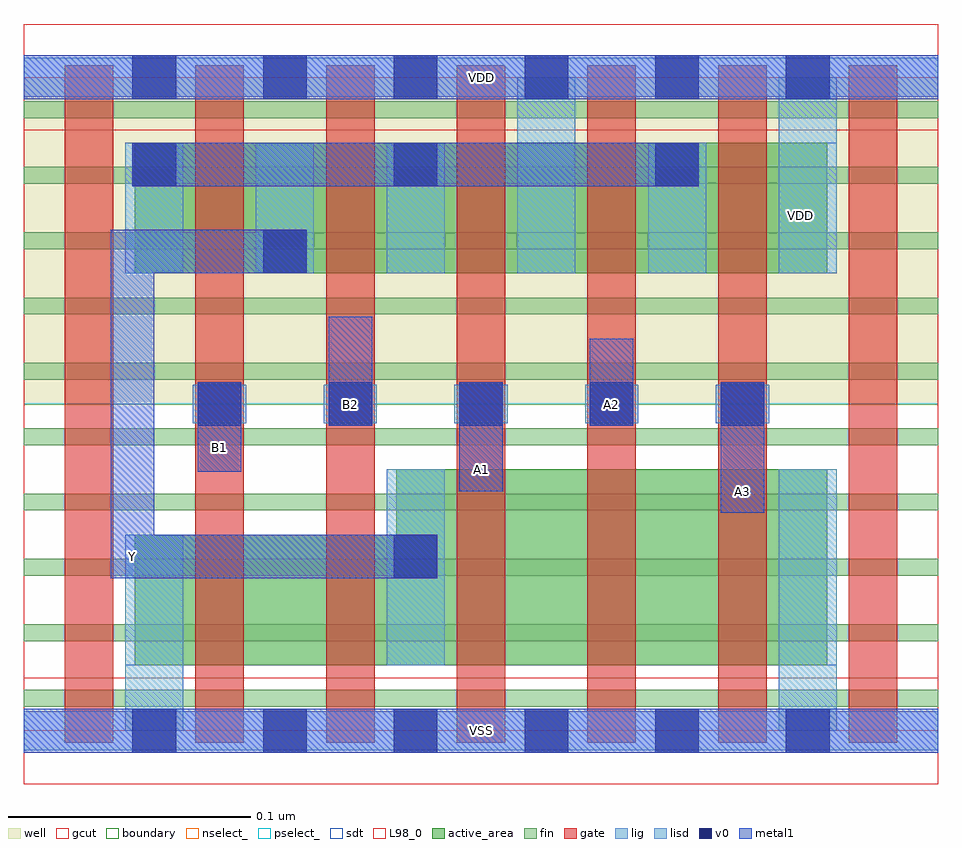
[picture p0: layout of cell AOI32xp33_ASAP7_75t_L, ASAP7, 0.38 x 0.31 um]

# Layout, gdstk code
import gdstk
lib = gdstk.Library(unit=1e-6, precision=2.5e-10)
def R(c, l, rs):  # rectangles x0, y0, x1, y1
    for r in rs: c.add(gdstk.rectangle(r[:2], r[2:], *l))
def A(c, l, x, y, w, h, nx, ny, dx, dy):  # array of equal rectangles
    R(c, l, [(x+i*dx, y+j*dy, x+i*dx+w, y+j*dy+h) for i in range(nx) for j in range(ny)])
def P(c, l, *ps):  # polygons
    for p in ps: c.add(gdstk.Polygon(p, *l))
well = (1, 0)
fin = (2, 0)
gate = (7, 0)
gcut = (10, 0)
active_area = (11, 0)
nselect_ = (12, 0)
pselect_ = (13, 0)
lig = (16, 0)
lisd = (17, 0)
v0 = (18, 0)
metal1 = (19, 0)
sdt = (88, 0)
L98_0 = (98, 0)
boundary = (100, 0)

aoi32xp33_asap7_75t_l = lib.new_cell('AOI32xp33_ASAP7_75t_L')
R(aoi32xp33_asap7_75t_l, well, [(0,0.135,0.378,0.27)])
A(aoi32xp33_asap7_75t_l, fin, 0, 0.01, 0.378, 0.007, 1, 10, 0, 0.027)
A(aoi32xp33_asap7_75t_l, gate, 0.017, -0.005, 0.02, 0.28, 7, 1, 0.054, 0)
R(aoi32xp33_asap7_75t_l, gcut, [(0,-0.022,0.378,0.022), (0,0.248,0.378,0.292)])
R(aoi32xp33_asap7_75t_l, active_area, [(0.046,0.189,0.332,0.243)])
P(aoi32xp33_asap7_75t_l, active_area, [(0.046,0.027),(0.046,0.081),(0.154,0.081),(0.154,0.108),(0.332,0.108),(0.332,0.027)])
R(aoi32xp33_asap7_75t_l, nselect_, [(0,0,0.378,0.135)])
R(aoi32xp33_asap7_75t_l, pselect_, [(0,0.135,0.378,0.27)])
A(aoi32xp33_asap7_75t_l, lig, 0.07, 0.127, 0.022, 0.016, 5, 1, 0.054, 0)
R(aoi32xp33_asap7_75t_l, lig, [(0,-0.008,0.378,0.008), (0,0.262,0.378,0.278)])
A(aoi32xp33_asap7_75t_l, lisd, 0.042, 0.189, 0.024, 0.054, 3, 1, 0.054, 0)
R(aoi32xp33_asap7_75t_l, lisd, [(0.042,0,0.066,0.081), (0.312,0,0.336,0.108), (0.15,0.027,0.174,0.108), (0.204,0.189,0.228,0.27), (0.258,0.189,0.282,0.243), (0.312,0.189,0.336,0.27)])
A(aoi32xp33_asap7_75t_l, v0, 0.045, -0.009, 0.018, 0.018, 6, 2, 0.054, 0.27)
A(aoi32xp33_asap7_75t_l, v0, 0.072, 0.126, 0.018, 0.018, 5, 1, 0.054, 0)
A(aoi32xp33_asap7_75t_l, v0, 0.045, 0.225, 0.018, 0.018, 3, 1, 0.108, 0)
R(aoi32xp33_asap7_75t_l, v0, [(0.153,0.063,0.171,0.081), (0.099,0.189,0.117,0.207)])
R(aoi32xp33_asap7_75t_l, metal1, [(0,-0.009,0.378,0.009), (0.288,0.09,0.306,0.144), (0.18,0.099,0.198,0.144), (0.072,0.107,0.09,0.144), (0.126,0.126,0.144,0.171), (0.234,0.126,0.252,0.162), (0.045,0.225,0.279,0.243), (0,0.261,0.378,0.279)])
P(aoi32xp33_asap7_75t_l, metal1, [(0.036,0.063),(0.036,0.207),(0.117,0.207),(0.117,0.189),(0.054,0.189),(0.054,0.081),(0.171,0.081),(0.171,0.063)])
A(aoi32xp33_asap7_75t_l, sdt, 0.042, 0.189, 0.024, 0.054, 6, 1, 0.054, 0)
R(aoi32xp33_asap7_75t_l, sdt, [(0.042,0.027,0.066,0.081), (0.15,0.027,0.174,0.108), (0.312,0.027,0.336,0.108)])
R(aoi32xp33_asap7_75t_l, L98_0, [(0,0,0.378,0.27)])
R(aoi32xp33_asap7_75t_l, boundary, [(0,0,0.378,0.27)])
aoi32xp33_asap7_75t_l.add(gdstk.Label('A1', (0.189,0.108), layer=19, texttype=251))
aoi32xp33_asap7_75t_l.add(gdstk.Label('Y', (0.045,0.072), layer=19, texttype=251))
aoi32xp33_asap7_75t_l.add(gdstk.Label('B1', (0.081,0.117), layer=19, texttype=251))
aoi32xp33_asap7_75t_l.add(gdstk.Label('B2', (0.135,0.135), layer=19, texttype=251))
aoi32xp33_asap7_75t_l.add(gdstk.Label('A2', (0.243,0.135), layer=19, texttype=251))
aoi32xp33_asap7_75t_l.add(gdstk.Label('A3', (0.297,0.099), layer=19, texttype=251))
aoi32xp33_asap7_75t_l.add(gdstk.Label('VSS', (0.189,0), layer=19, texttype=251))
aoi32xp33_asap7_75t_l.add(gdstk.Label('VDD', (0.189,0.27), layer=19, texttype=251))
aoi32xp33_asap7_75t_l.add(gdstk.Label('VDD', (0.321,0.213), layer=1, texttype=251))
aoi32xp33_asap7_75t_l.add(gdstk.Label('VSS', (0.435,0.213), layer=3, texttype=251))

lib.write_gds('AOI32xp33_ASAP7_75t_L.gds')
